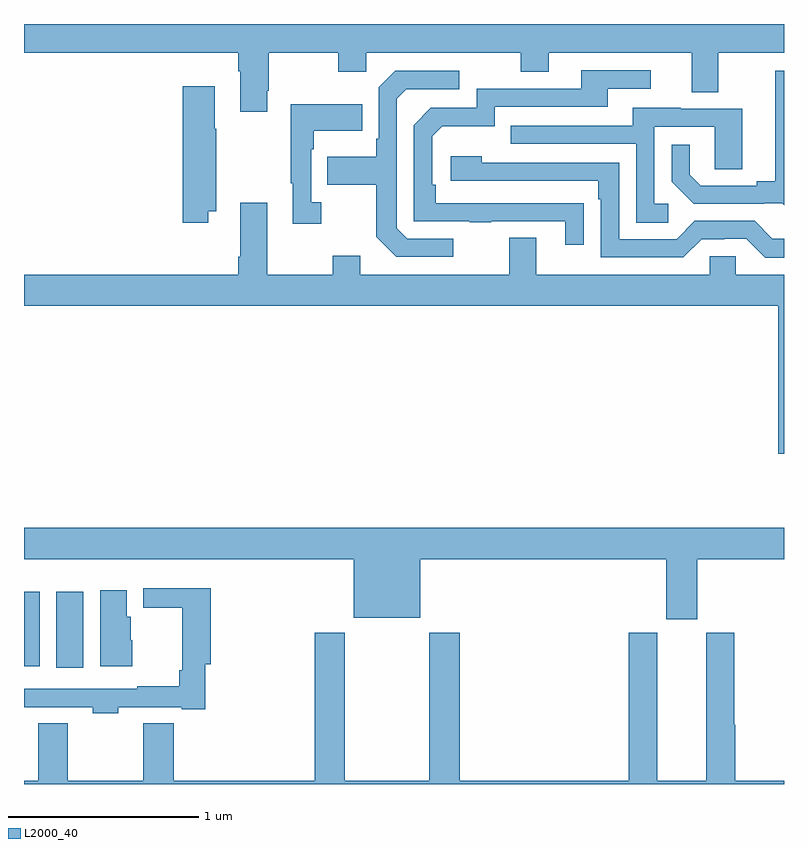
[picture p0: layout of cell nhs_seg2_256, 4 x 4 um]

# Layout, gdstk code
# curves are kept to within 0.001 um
import gdstk
lib = gdstk.Library(unit=1e-6, precision=1e-09)
def R(c, l, rs):  # rectangles x0, y0, x1, y1
    for r in rs: c.add(gdstk.rectangle(r[:2], r[2:], *l))
def P(c, l, *ps):  # polygons
    for p in ps: c.add(gdstk.Polygon(p, *l))
L2000_40 = (2000, 40)

nhs_seg2_256 = lib.new_cell('nhs_seg2_256')
R(nhs_seg2_256, L2000_40, [(123.17,632.412,123.313,632.812), (123,632.42,123.082,632.812)])
P(nhs_seg2_256, L2000_40, [(124.279,635.449),(124.287,635.449),(124.287,635.648),(124.654,635.648),(124.654,635.549),(124.8,635.549),(124.8,635.648),(125.614,635.648),(125.614,635.549),(125.761,635.549),(125.761,635.648),(126.515,635.648),(126.515,635.44),(126.655,635.44),(126.655,635.648),(127,635.648),(127,635.8),(123,635.8),(123,635.648),(124.127,635.648),(124.127,635.552),(124.139,635.552),(124.139,635.337),(124.279,635.337)],
  [(125.945,634.856),(125.168,634.857),(125.168,634.954),(125.148,634.954),(125.148,635.208),(125.201,635.261),(125.478,635.261),(125.478,635.364),(126.073,635.364),(126.073,635.46),(126.298,635.46),(126.298,635.556),(125.933,635.556),(125.933,635.46),(125.382,635.46),(125.382,635.358),(125.142,635.358),(125.052,635.268),(125.052,634.761),(125.347,634.761),(125.347,634.756),(125.459,634.756),(125.459,634.761),(125.849,634.761),(125.849,634.638),(125.945,634.638)],
  [(127,635.553),(126.953,635.553),(126.953,634.973),(126.857,634.973),(126.857,634.95),(126.562,634.95),(126.505,635.007),(126.505,635.164),(126.408,635.164),(126.408,634.97),(126.524,634.854),(126.896,634.854),(126.896,634.857),(126.99,634.857),(127,634.847)],
  [(125.26,634.671),(125.016,634.671),(124.962,634.725),(124.962,635.406),(125.013,635.457),(125.29,635.457),(125.29,635.553),(124.953,635.553),(124.866,635.466),(124.866,635.197),(124.854,635.197),(124.854,635.101),(124.597,635.101),(124.597,634.954),(124.854,634.954),(124.854,634.681),(124.959,634.575),(125.26,634.575)],
  [(123.97,634.814),(124.011,634.814),(124.011,635.249),(124.003,635.249),(124.003,635.473),(123.836,635.473),(123.836,634.755),(123.97,634.755)],
  [(124.564,634.862),(124.512,634.862),(124.512,635.141),(124.525,635.141),(124.525,635.237),(124.781,635.237),(124.781,635.377),(124.404,635.377),(124.404,634.961),(124.415,634.961),(124.415,634.749),(124.564,634.749)],
  [(126.391,634.854),(126.318,634.854),(126.318,635.259),(126.636,635.259),(126.636,635.035),(126.781,635.035),(126.781,635.355),(126.457,635.355),(126.457,635.359),(126.203,635.359),(126.203,635.265),(125.563,635.265),(125.563,635.169),(126.222,635.169),(126.222,634.753),(126.391,634.753)],
  [(127,634.671),(126.939,634.671),(126.846,634.764),(126.531,634.764),(126.435,634.668),(126.132,634.668),(126.132,635.07),(125.408,635.07),(125.408,635.104),(125.247,635.104),(125.247,634.974),(126.023,634.974),(126.023,634.877),(126.036,634.877),(126.036,634.572),(126.471,634.572),(126.567,634.668),(126.686,634.668),(126.686,634.671),(126.801,634.671),(126.901,634.571),(127,634.571)],
  [(127,634.48),(126.747,634.48),(126.747,634.578),(126.609,634.578),(126.609,634.48),(125.695,634.48),(125.695,634.675),(125.555,634.675),(125.555,634.48),(124.771,634.48),(124.771,634.579),(124.624,634.579),(124.624,634.48),(124.279,634.48),(124.279,634.858),(124.139,634.858),(124.139,634.576),(124.127,634.576),(124.127,634.48),(123,634.48),(123,634.316),(126.971,634.316),(126.971,633.537),(127,633.537)],
  [(126.544,632.984),(127,632.984),(127,633.148),(123,633.148),(123,632.984),(124.736,632.984),(124.736,632.675),(125.086,632.675),(125.086,632.984),(126.38,632.984),(126.38,632.667),(126.544,632.667)],
  [(123.495,632.205),(123.83,632.205),(123.83,632.193),(123.953,632.193),(123.953,632.429),(123.983,632.429),(123.983,632.83),(123.627,632.83),(123.627,632.728),(123.832,632.728),(123.832,632.398),(123.817,632.398),(123.817,632.314),(123.595,632.314),(123.595,632.301),(123,632.301),(123,632.205),(123.363,632.205),(123.363,632.173),(123.495,632.173)],
  [(123.571,632.556),(123.562,632.556),(123.562,632.679),(123.541,632.679),(123.541,632.821),(123.401,632.821),(123.401,632.42),(123.571,632.42)],
  [(127,631.816),(126.743,631.816),(126.743,632.112),(126.738,632.112),(126.738,632.595),(126.59,632.595),(126.59,631.816),(126.334,631.816),(126.334,632.595),(126.182,632.595),(126.182,631.816),(125.294,631.816),(125.294,632.596),(125.134,632.596),(125.134,631.816),(124.689,631.816),(124.689,632.596),(124.529,632.596),(124.529,631.816),(123.788,631.816),(123.788,632.12),(123.628,632.12),(123.628,631.816),(123.23,631.816),(123.23,632.12),(123.076,632.12),(123.076,631.816),(123,631.816),(123,631.8),(127,631.8)])

lib.write_gds('nhs_seg2_256.gds')
